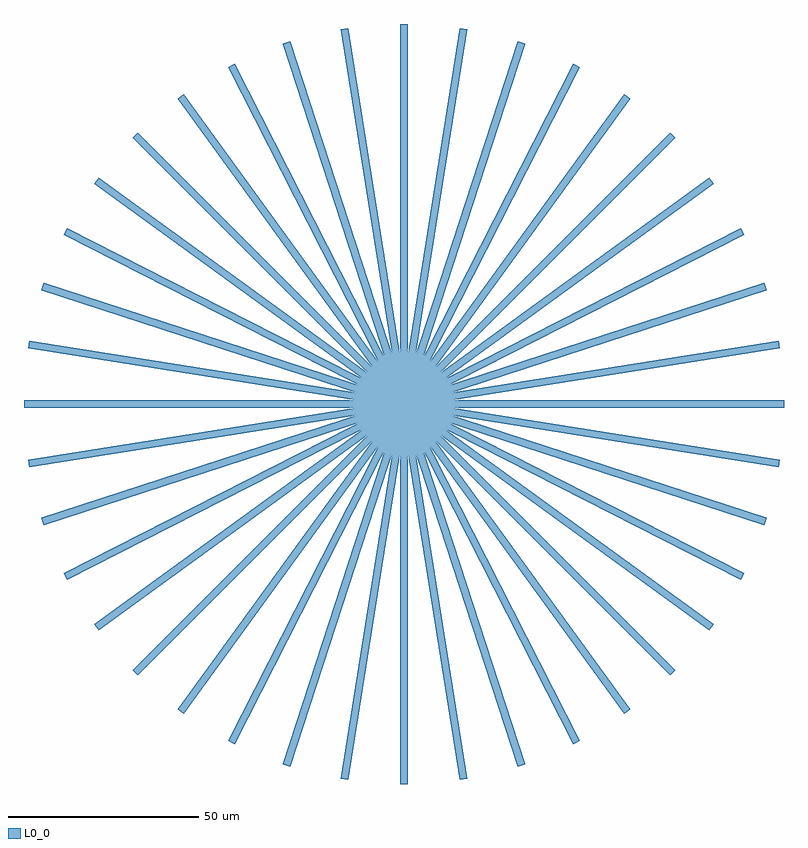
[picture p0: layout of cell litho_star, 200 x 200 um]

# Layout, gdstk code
import gdstk
lib = gdstk.Library(unit=1e-6, precision=1e-09)
def R(c, l, rs):  # rectangles x0, y0, x1, y1
    for r in rs: c.add(gdstk.rectangle(r[:2], r[2:], *l))
def P(c, l, *ps):  # polygons
    for p in ps: c.add(gdstk.Polygon(p, *l))
L0_0 = (0, 0)

litho_star = lib.new_cell('litho_star')
R(litho_star, L0_0, [(-1,-100,1,100), (-100,-1,100,1)])
P(litho_star, L0_0, [(-14.656,98.925),(16.631,-98.612),(14.656,-98.925),(-16.631,98.612)],
  [(-29.951,95.415),(31.853,-94.797),(29.951,-95.415),(-31.853,94.797)],
  [(-44.508,89.555),(46.29,-88.647),(44.508,-89.555),(-46.29,88.647)],
  [(-57.97,81.489),(59.588,-80.314),(57.97,-81.489),(-59.588,80.314)],
  [(-70.004,71.418),(71.418,-70.004),(70.004,-71.418),(-71.418,70.004)],
  [(-80.314,59.588),(81.489,-57.97),(80.314,-59.588),(-81.489,57.97)],
  [(-88.647,46.29),(89.555,-44.508),(88.647,-46.29),(-89.555,44.508)],
  [(-94.797,31.853),(95.415,-29.951),(94.797,-31.853),(-95.415,29.951)],
  [(-98.612,16.631),(98.925,-14.656),(98.612,-16.631),(-98.925,14.656)],
  [(-98.925,-14.656),(98.612,16.631),(98.925,14.656),(-98.612,-16.631)],
  [(-95.415,-29.951),(94.797,31.853),(95.415,29.951),(-94.797,-31.853)],
  [(-89.555,-44.508),(88.647,46.29),(89.555,44.508),(-88.647,-46.29)],
  [(-81.489,-57.97),(80.314,59.588),(81.489,57.97),(-80.314,-59.588)],
  [(-71.418,-70.004),(70.004,71.418),(71.418,70.004),(-70.004,-71.418)],
  [(-59.588,-80.314),(57.97,81.489),(59.588,80.314),(-57.97,-81.489)],
  [(-46.29,-88.647),(44.508,89.555),(46.29,88.647),(-44.508,-89.555)],
  [(-31.853,-94.797),(29.951,95.415),(31.853,94.797),(-29.951,-95.415)],
  [(-16.631,-98.612),(14.656,98.925),(16.631,98.612),(-14.656,-98.925)])

lib.write_gds('litho_star.gds')
